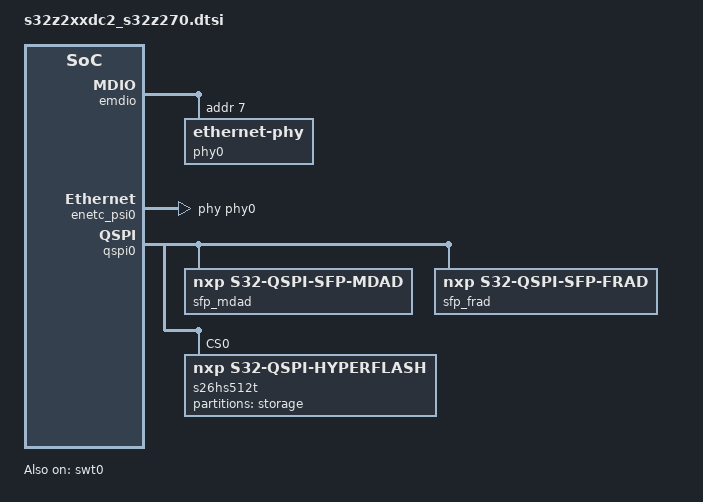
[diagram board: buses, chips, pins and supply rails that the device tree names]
/*
 * Copyright 2022-2024 NXP
 *
 * SPDX-License-Identifier: Apache-2.0
 */

#include "s32z2xxdc2_s32z270_pinctrl.dtsi"
#include <zephyr/dt-bindings/qspi/nxp-s32-qspi.h>

&swt0 {
	status = "okay";
};

&emdio {
	pinctrl-0 = <&emdio_default>;
	pinctrl-names = "default";
	status = "okay";

	phy0: ethernet-phy@7 {
		compatible = "ethernet-phy";
		reg = <0x7>;
		status = "okay";
	};
};

&enetc_psi0 {
	local-mac-address = [00 00 00 01 02 00];
	pinctrl-0 = <&eth0_default>;
	pinctrl-names = "default";
	clock-frequency = <DT_FREQ_M(300)>;
	phy-handle = <&phy0>;
	status = "okay";
};

&canxl0 {
	pinctrl-0 = <&canxl0_default>;
	pinctrl-names = "default";
};

&canxl1 {
	pinctrl-0 = <&canxl1_default>;
	pinctrl-names = "default";
};

&flexcan0 {
	pinctrl-0 = <&flexcan0_default>;
	pinctrl-names = "default";
};

&flexcan1 {
	pinctrl-0 = <&flexcan1_default>;
	pinctrl-names = "default";
};

&sar_adc0 {
	vref-mv = <1800>;
};

&sar_adc1 {
	vref-mv = <1800>;
};

&qspi0 {
	pinctrl-0 = <&qspi0_default>;
	pinctrl-names = "default";
	data-rate = "DDR";
	column-space = <3>;
	word-addressable;
	hold-time-2x;
	a-dll-freq-enable;
	a-dll-ref-counter = <2>;
	a-dll-resolution = <2>;
	a-dll-coarse-delay = <2>;
	a-dll-fine-delay = <2>;
	a-dll-mode = "AUTO UPDATE";
	a-rx-clock-source = "EXTERNAL DQS";
	ahb-buffers-masters = <0 1 2 3>;
	ahb-buffers-sizes = <256 256 256 256>;
	ahb-buffers-all-masters;
	status = "okay";

	sfp_mdad {
		compatible = "nxp,s32-qspi-sfp-mdad";

		mdad_0: mdad_0 {
			domain-id = <0>;
			secure-attribute = <NXP_S32_QSPI_SECURE>;
		};
	};

	sfp_frad {
		compatible = "nxp,s32-qspi-sfp-frad";
		#address-cells = <1>;
		#size-cells = <1>;

		frad_0: frad@0 {
			reg = <0x0 DT_SIZE_M(512)>;
			master-domain-acp-policy = <NXP_S32_QSPI_SECURE>;
		};
	};

	s26hs512t: s26hs512t@0 {
		compatible = "nxp,s32-qspi-hyperflash";
		reg = <0>;
		jedec-id = [00 34 00 7b 00 1a 00 0f 00 90];
		device-id-word-addr = <0x800>;
		size = <DT_SIZE_M(512)>;
		write-block-size = <2>;
		read-latency-cycles = <16>;
		max-program-buffer-size = <256>;
		vcc-mv = <1800>;
		drive-strength-ohm = <27>;
		ppw-sectors-addr-mapping = "LOW";
		status = "okay";

		partitions {
			compatible = "fixed-partitions";
			#address-cells = <1>;
			#size-cells = <1>;

			storage_partition: partition@0 {
				label = "storage";
				reg = <0x0 0x10000>;
			};
		};
	};
};
